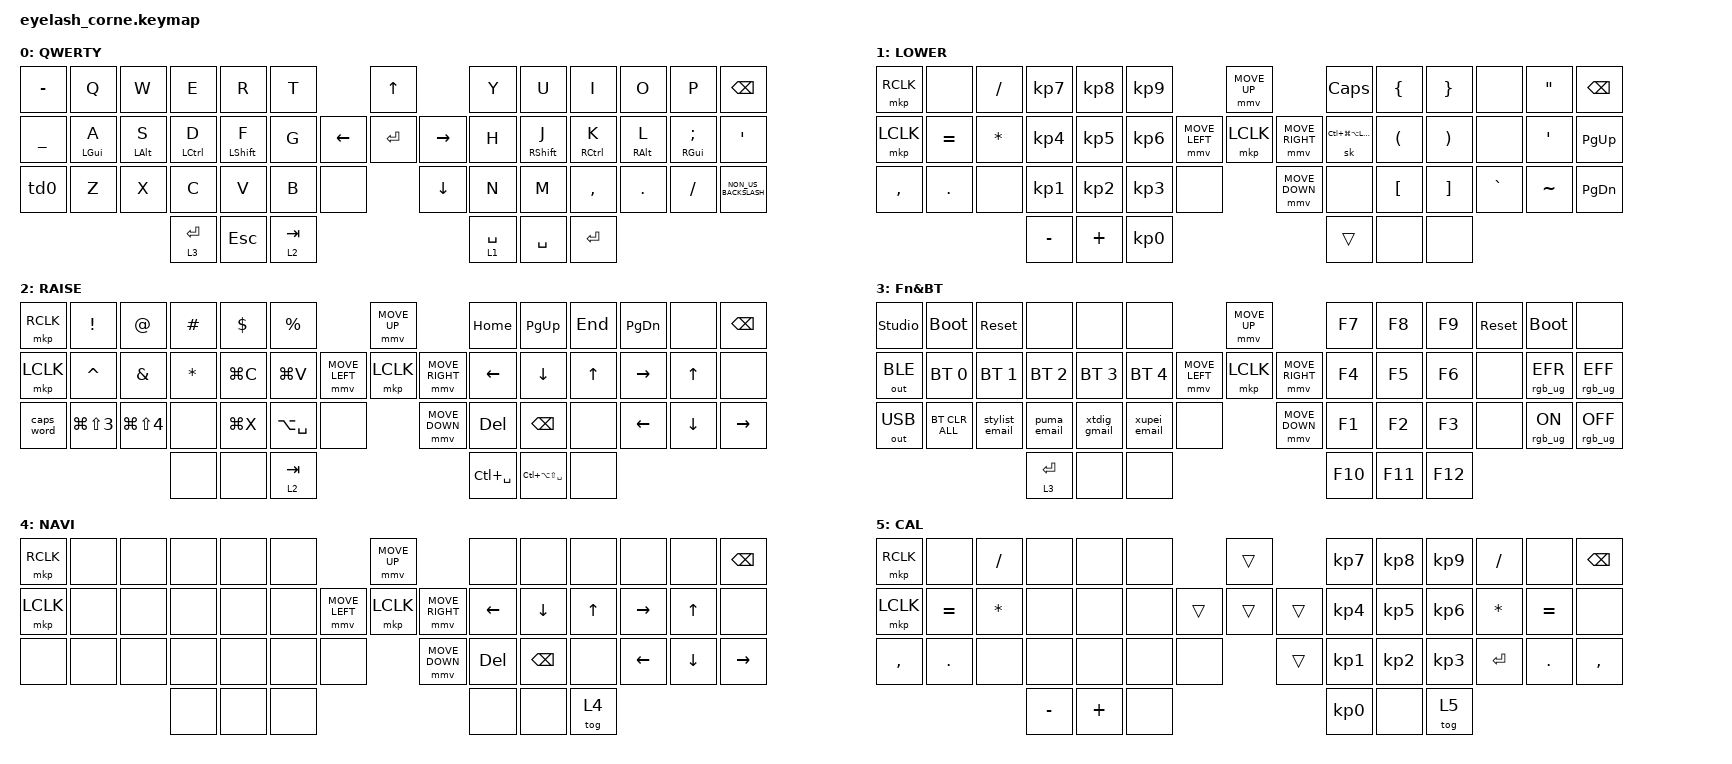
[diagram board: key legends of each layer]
#define ZMK_POINTING_DEFAULT_MOVE_VAL 1200  // 600
#define ZMK_POINTING_DEFAULT_SCRL_VAL 25   // 10

#include <input/processors.dtsi>
#include <zephyr/dt-bindings/input/input-event-codes.h>
#include <behaviors.dtsi>
#include <dt-bindings/zmk/bt.h>
#include <dt-bindings/zmk/keys.h>
#include <dt-bindings/zmk/outputs.h>
#include <dt-bindings/zmk/pointing.h>
#include <dt-bindings/zmk/rgb.h>

&mmv_input_listener { input-processors = <&zip_xy_scaler 2 1>; };

&msc_input_listener { input-processors = <&zip_scroll_scaler 2 1>; };

&msc {
    acceleration-exponent = <1>;      // 0
    time-to-max-speed-ms = <100>;       // 300
    delay-ms = <0>;                   // 0
};

&mmv {
    time-to-max-speed-ms = <500>;
    acceleration-exponent = <1>;
    trigger-period-ms = <16>;
};

// homerow_mods의 정상 작동을 위한 설정 추가 함

&mt {
    label = "HOMEROW_MODS";
    compatible = "zmk,behavior-hold-tap";
    flavor = "tap-preferred";
    tapping-term-ms = <200>;
    quick-tap-ms = <125>;
    global-quick-tap;
};

&lt {
    flavor = "balanced";
    tapping-term-ms = <240>;
    quick-tap-ms = <150>;
};

/ {
    behaviors {
        td0: td0 {
            compatible = "zmk,behavior-tap-dance";
            display-name = "Shift/Caps Lock Tap Dance";
            #binding-cells = <0>;
            bindings = <&kp LEFT_SHIFT>, <&kp CAPS>;

            label = "Shift/Caps Lock Tap Dance";
        };
    };

    combos {
        compatible = "zmk,combos";

        enter_combo {
            bindings = <&kp ENTER>;
            key-positions = <23 24 25>;
            layers = <0 1 5>;
        };

        nav_combo {
            bindings = <&tog 4>;
            key-positions = <8 9 10>;
            layers = <4 0>;
        };

        num_combo {
            bindings = <&tog 5>;
            key-positions = <37 38 39>;
            layers = <5 0>;
        };
    };

    macros {
        stylist_email: stylist_email {
            compatible = "zmk,behavior-macro";
            #binding-cells = <0>;
            bindings = <&none &kp S &kp DOT &kp S &kp T &kp Y &kp L &kp I &kp S &kp T &kp AT &kp G &kp M &kp A &kp I &kp L &kp DOT &kp C &kp O &kp M>;
            label = "STYLIST_EMAIL";
        };

        puma_email: puma_email {
            compatible = "zmk,behavior-macro";
            #binding-cells = <0>;
            bindings = <&none &kp P &kp U &kp M &kp A &kp N1 &kp N8 &kp N9 &kp N6 &kp N1 &kp N0 &kp AT &kp G &kp M &kp A &kp I &kp L &kp DOT &kp C &kp O &kp M>;
            label = "PUMA_EMAIL";
        };

        xtdig_gmail: xtdig_gmail {
            compatible = "zmk,behavior-macro";
            #binding-cells = <0>;
            bindings = <&none &kp X &kp T &kp D &kp I &kp G &kp N8 &kp N3 &kp S &kp N9 &kp AT &kp G &kp M &kp A &kp I &kp L &kp DOT &kp C &kp O &kp M>;
            label = "XTDIG_GMAIL";
        };

        xupei_email: xupei_email {
            compatible = "zmk,behavior-macro";
            #binding-cells = <0>;
            bindings = <&none &kp X &kp U &kp P &kp E &kp I &kp AT &kp M &kp E &kp DOT &kp C &kp O &kp M>;
            label = "XUPEI_EMAIL";
        };
    };

    keymap {
        compatible = "zmk,keymap";

        base_layer {
            display-name = "QWERTY";
            bindings = <
&kp MINUS       &kp Q       &kp W       &kp E        &kp R        &kp T                         &kp UP                &kp Y        &kp U        &kp I        &kp O       &kp P               &kp BSPC
&kp UNDERSCORE  &mt LGUI A  &mt LALT S  &mt LCTRL D  &mt LSHFT F  &kp G               &kp LEFT  &kp ENTER  &kp RIGHT  &kp H        &mt RSHFT J  &mt RCTRL K  &mt RALT L  &mt RGUI SEMICOLON  &kp SQT
&td0            &kp Z       &kp X       &kp C        &kp V        &kp B      &none              &kp DOWN              &kp N        &kp M        &kp COMMA    &kp DOT     &kp FSLH            &kp NON_US_BACKSLASH
                                        &lt 3 ENTER  &kp ESCAPE   &lt 2 TAB                                           &lt 1 SPACE  &kp SPACE    &kp ENTER
            >;
        };

        lower_layer {
            display-name = "LOWER";
            bindings = <
&mkp RCLK  &none      &kp SLASH  &kp KP_NUMBER_7  &kp KP_NUMBER_8  &kp KP_NUMBER_9                           &mmv MOVE_UP                     &kp CAPS               &kp LBRC              &kp RBRC               &none      &kp DOUBLE_QUOTES  &kp BSPC
&mkp LCLK  &kp EQUAL  &kp STAR   &kp KP_NUMBER_4  &kp KP_NUMBER_5  &kp KP_NUMBER_6           &mmv MOVE_LEFT  &mkp LCLK       &mmv MOVE_RIGHT  &sk LC(LG(LA(LSHFT)))  &kp LEFT_PARENTHESIS  &kp RIGHT_PARENTHESIS  &none      &kp SINGLE_QUOTE   &kp PG_UP
&kp COMMA  &kp DOT    &none      &kp KP_NUMBER_1  &kp KP_NUMBER_2  &kp KP_NUMBER_3  &none                    &mmv MOVE_DOWN                   &none                  &kp LEFT_BRACKET      &kp RIGHT_BRACKET      &kp GRAVE  &kp TILDE          &kp PG_DN
                                 &kp MINUS        &kp PLUS         &kp KP_NUMBER_0                                                            &trans                 &none                 &none
            >;
        };

        raise_layer {
            display-name = "RAISE";
            bindings = <
&mkp RCLK   &kp EXCL        &kp AT                &kp HASH  &kp DLLR   &kp PRCNT                               &mmv MOVE_UP                     &kp HOME       &kp PAGE_UP            &kp END  &kp PG_DN  &none     &kp BSPC
&mkp LCLK   &kp CARET       &kp AMPS              &kp STAR  &kp LG(C)  &kp LG(V)               &mmv MOVE_LEFT  &mkp LCLK       &mmv MOVE_RIGHT  &kp LEFT       &kp DOWN               &kp UP   &kp RIGHT  &kp UP    &none
&caps_word  &kp LG(LS(N3))  &kp LG(LS(NUMBER_4))  &none     &kp LG(X)  &kp LA(SPACE)  &none                    &mmv MOVE_DOWN                   &kp DEL        &kp BSPC               &none    &kp LEFT   &kp DOWN  &kp RIGHT
                                                  &none     &none      &lt 2 TAB                                                                &kp LC(SPACE)  &kp LC(LA(LS(SPACE)))  &none
            >;
        };

        adjust_layer {
            display-name = "Fn&BT";
            bindings = <
&studio_unlock  &bootloader     &sys_reset      &none         &none         &none                                  &mmv MOVE_UP                     &kp F7   &kp F8   &kp F9   &sys_reset  &bootloader      &none
&out OUT_BLE    &bt BT_SEL 0    &bt BT_SEL 1    &bt BT_SEL 2  &bt BT_SEL 3  &bt BT_SEL 4           &mmv MOVE_LEFT  &mkp LCLK       &mmv MOVE_RIGHT  &kp F4   &kp F5   &kp F6   &none       &rgb_ug RGB_EFR  &rgb_ug RGB_EFF
&out OUT_USB    &bt BT_CLR_ALL  &stylist_email  &puma_email   &xtdig_gmail  &xupei_email  &none                    &mmv MOVE_DOWN                   &kp F1   &kp F2   &kp F3   &none       &rgb_ug RGB_ON   &rgb_ug RGB_OFF
                                                &lt 3 ENTER   &none         &none                                                                   &kp F10  &kp F11  &kp F12
            >;
        };

        navigation_layer {
            display-name = "NAVI";
            bindings = <
&mkp RCLK  &none  &none  &none  &none  &none                           &mmv MOVE_UP                     &none       &none          &none   &none      &none     &kp BACKSPACE
&mkp LCLK  &none  &none  &none  &none  &none           &mmv MOVE_LEFT  &mkp LCLK       &mmv MOVE_RIGHT  &kp LEFT    &kp DOWN       &kp UP  &kp RIGHT  &kp UP    &none
&none      &none  &none  &none  &none  &none  &none                    &mmv MOVE_DOWN                   &kp DELETE  &kp BACKSPACE  &none   &kp LEFT   &kp DOWN  &kp RIGHT
                         &none  &none  &none                                                            &none       &none          &tog 4
            >;
        };

        numeric_layer {
            display-name = "CAL";
            bindings = <
&mkp RCLK  &none      &kp SLASH  &none      &none     &none                   &trans          &kp KP_NUMBER_7  &kp KP_NUMBER_8  &kp KP_NUMBER_9  &kp SLASH  &none      &kp BACKSPACE
&mkp LCLK  &kp EQUAL  &kp STAR   &none      &none     &none           &trans  &trans  &trans  &kp KP_NUMBER_4  &kp KP_NUMBER_5  &kp KP_NUMBER_6  &kp STAR   &kp EQUAL  &none
&kp COMMA  &kp DOT    &none      &none      &none     &none  &none            &trans          &kp KP_NUMBER_1  &kp KP_NUMBER_2  &kp KP_NUMBER_3  &kp ENTER  &kp DOT    &kp COMMA
                                 &kp MINUS  &kp PLUS  &none                                   &kp KP_NUMBER_0  &none            &tog 5
            >;
        };
    };
};
